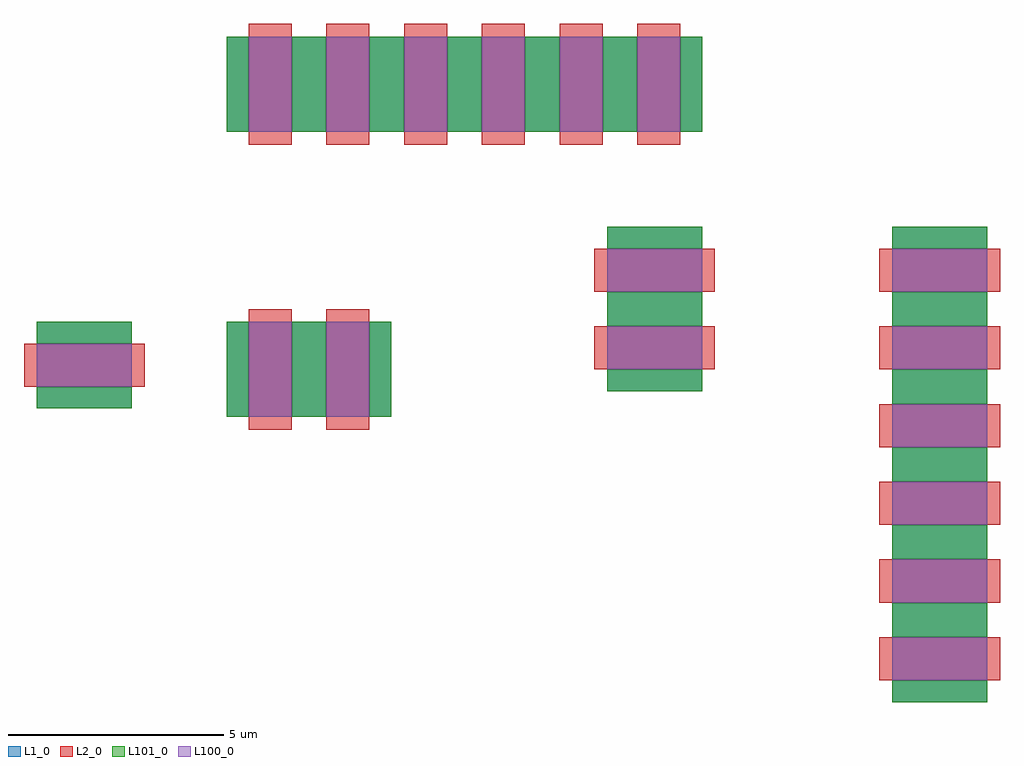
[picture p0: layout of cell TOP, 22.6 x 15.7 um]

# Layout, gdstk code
from math import pi, radians
import gdstk
lib = gdstk.Library(unit=1e-6, precision=1e-09)
def R(c, l, rs):  # rectangles x0, y0, x1, y1
    for r in rs: c.add(gdstk.rectangle(r[:2], r[2:], *l))
L1_0 = (1, 0)
L2_0 = (2, 0)
L100_0 = (100, 0)
L101_0 = (101, 0)

c_b = lib.new_cell('B')
R(c_b, L1_0, [(-1,-1.1,1,1.1)])
R(c_b, L2_0, [(-0.5,-1.4,0.5,1.4)])
R(c_b, L100_0, [(-0.5,-1.1,0.5,1.1)])
R(c_b, L101_0, [(-1,-1.1,-0.5,1.1), (0.5,-1.1,1,1.1)])

c_a = lib.new_cell('A')
r = gdstk.Reference(c_b, (5.4,6.6)); r.repetition = gdstk.Repetition(2, 1, v1=(1.8,0), v2=(0,0)); c_a.add(r)
c_a.add(gdstk.Reference(c_b, (1.8,0)))
c_a.add(gdstk.Reference(c_b, (1.8,6.6)))
c_a.add(gdstk.Reference(c_b, (-4.3,0.1), rotation=pi/2))
r = gdstk.Reference(c_b, (0,6.6)); r.repetition = gdstk.Repetition(6, 1, v1=(1.8,0), v2=(0,0)); c_a.add(r)
c_a.add(gdstk.Reference(c_b, (0,0)))
c_a.add(gdstk.Reference(c_b, (1.8,0)))

top = lib.new_cell('TOP')
top.add(gdstk.Reference(c_a, (8.9,2.3), rotation=3*pi/2))
top.add(gdstk.Reference(c_a, (0,0)))

lib.write_gds('TOP.gds')
